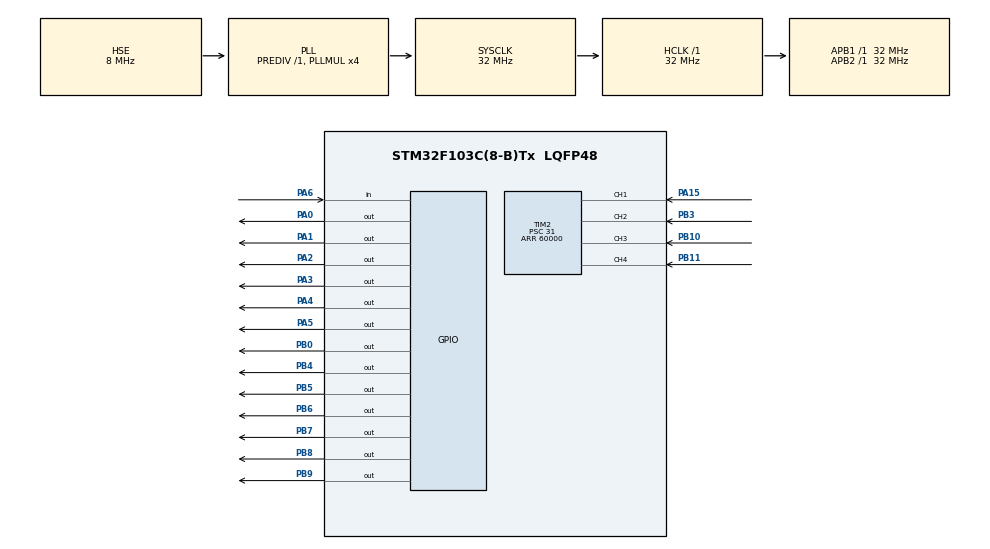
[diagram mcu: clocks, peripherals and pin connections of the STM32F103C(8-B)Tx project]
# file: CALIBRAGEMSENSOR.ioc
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Mcu.Family=STM32F1
Mcu.Name=STM32F103C(8-B)Tx
Mcu.Package=LQFP48
NVIC.PriorityGroup=NVIC_PRIORITYGROUP_4
NVIC.TIM2_IRQn=true\:0\:0\:false\:false\:true
NVIC.TIM3_IRQn=true\:0\:0\:false\:false\:true
PA0-WKUP.Signal=GPIO_Output
PA1.GPIO_Speed=GPIO_SPEED_FREQ_LOW
PA1.PinState=GPIO_PIN_RESET
PA1.Signal=GPIO_Output
PA13.Mode=Serial_Wire
PA13.Signal=SYS_JTMS-SWDIO
PA14.Mode=Serial_Wire
PA14.Signal=SYS_JTCK-SWCLK
PA15.Signal=S_TIM2_CH1_ETR
PA2.Signal=GPIO_Output
PA3.Signal=GPIO_Output
PA4.Signal=GPIO_Output
PA5.Signal=GPIO_Output
PA6.Signal=GPIO_Input
PB0.Signal=GPIO_Output
PB10.Signal=S_TIM2_CH3
PB11.Signal=S_TIM2_CH4
PB3.Signal=S_TIM2_CH2
PB4.Signal=GPIO_Output
PB5.Signal=GPIO_Output
PB6.Signal=GPIO_Output
PB7.Signal=GPIO_Output
PB8.Signal=GPIO_Output
PB9.Signal=GPIO_Output
PD0-OSC_IN.Mode=HSE-External-Oscillator
PD0-OSC_IN.Signal=RCC_OSC_IN
PD1-OSC_OUT.Mode=HSE-External-Oscillator
PD1-OSC_OUT.Signal=RCC_OSC_OUT
ProjectManager.HeapSize=0x200
ProjectManager.StackSize=0x400
ProjectManager.TargetToolchain=TrueSTUDIO
RCC.AHBFreq_Value=32000000
RCC.APB1Freq_Value=32000000
RCC.APB1TimFreq_Value=32000000
RCC.APB2Freq_Value=32000000
RCC.APB2TimFreq_Value=32000000
RCC.HCLKFreq_Value=32000000
RCC.PLLMUL=RCC_PLL_MUL4
RCC.PLLSourceVirtual=RCC_PLLSOURCE_HSE
RCC.SYSCLKFreq_VALUE=32000000
RCC.SYSCLKSource=RCC_SYSCLKSOURCE_PLLCLK
RCC.USBFreq_Value=32000000
SH.S_TIM2_CH1_ETR.0=TIM2_CH1,Input_Capture1_from_TI1
SH.S_TIM2_CH2.0=TIM2_CH2,Input_Capture2_from_TI2
SH.S_TIM2_CH3.0=TIM2_CH3,Input_Capture3_from_TI3
SH.S_TIM2_CH4.0=TIM2_CH4,Input_Capture4_from_TI4
TIM2.Channel-Input_Capture1_from_TI1=TIM_CHANNEL_1
TIM2.Channel-Input_Capture2_from_TI2=TIM_CHANNEL_2
TIM2.Channel-Input_Capture3_from_TI3=TIM_CHANNEL_3
TIM2.Channel-Input_Capture4_from_TI4=TIM_CHANNEL_4
TIM2.ICFilter_CH1=15
TIM2.ICFilter_CH2=15
TIM2.ICFilter_CH3=15
TIM2.ICFilter_CH4=15
TIM2.ICPolarity_CH1=TIM_INPUTCHANNELPOLARITY_FALLING
TIM2.ICPolarity_CH4=TIM_INPUTCHANNELPOLARITY_FALLING
TIM2.Period=60000
TIM2.Prescaler=31
TIM3.Period=99
TIM3.Prescaler=31999
VP_TIM2_VS_ClockSourceINT.Mode=Internal
VP_TIM3_VS_ClockSourceINT.Mode=Internal
board=CALIBRAGEMSENSOR

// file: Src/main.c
/**
  ******************************************************************************
  * File Name          : main.c
  * Description        : Main program body
  ******************************************************************************
  ** This notice applies to any and all portions of this file
  * that are not between comment pairs USER CODE BEGIN and
  * USER CODE END. Other portions of this file, whether
  * inserted by the user or by software development tools
  * are owned by their respective copyright owners.
  *
  * COPYRIGHT(c) 2017 STMicroelectronics
  *
  * Redistribution and use in source and binary forms, with or without modification,
  * are permitted provided that the following conditions are met:
  *   1. Redistributions of source code must retain the above copyright notice,
  *      this list of conditions and the following disclaimer.
  *   2. Redistributions in binary form must reproduce the above copyright notice,
  *      this list of conditions and the following disclaimer in the documentation
  *      and/or other materials provided with the distribution.
  *   3. Neither the name of STMicroelectronics nor the names of its contributors
  *      may be used to endorse or promote products derived from this software
  *      without specific prior written permission.
  *
  * THIS SOFTWARE IS PROVIDED BY THE COPYRIGHT HOLDERS AND CONTRIBUTORS "AS IS"
  * AND ANY EXPRESS OR IMPLIED WARRANTIES, INCLUDING, BUT NOT LIMITED TO, THE
  * IMPLIED WARRANTIES OF MERCHANTABILITY AND FITNESS FOR A PARTICULAR PURPOSE ARE
  * DISCLAIMED. IN NO EVENT SHALL THE COPYRIGHT HOLDER OR CONTRIBUTORS BE LIABLE
  * FOR ANY DIRECT, INDIRECT, INCIDENTAL, SPECIAL, EXEMPLARY, OR CONSEQUENTIAL
  * DAMAGES (INCLUDING, BUT NOT LIMITED TO, PROCUREMENT OF SUBSTITUTE GOODS OR
  * SERVICES; LOSS OF USE, DATA, OR PROFITS; OR BUSINESS INTERRUPTION) HOWEVER
  * CAUSED AND ON ANY THEORY OF LIABILITY, WHETHER IN CONTRACT, STRICT LIABILITY,
  * OR TORT (INCLUDING NEGLIGENCE OR OTHERWISE) ARISING IN ANY WAY OUT OF THE USE
  * OF THIS SOFTWARE, EVEN IF ADVISED OF THE POSSIBILITY OF SUCH DAMAGE.
  *
  ******************************************************************************
  */
#include "main.h"
#include "stm32f1xx_hal.h"
#include "tim.h"
#include "gpio.h"

/* USER CODE BEGIN PV */
/* Private variables ---------------------------------------------------------*/
long delay = 0;
/* USER CODE END PV */

void SystemClock_Config(void);

/* USER CODE BEGIN PFP */
/* Private function prototypes -----------------------------------------------*/
uint32_t uss1_delay = 0;
uint32_t uss2_delay = 0;
/* USER CODE END PFP */

int main(void)
{

  /* MCU Configuration----------------------------------------------------------*/

  /* Reset of all peripherals, Initializes the Flash interface and the Systick. */
  HAL_Init();

  /* Configure the system clock */
  SystemClock_Config();

  /* Initialize all configured peripherals */
  MX_GPIO_Init();
  MX_TIM3_Init();
  MX_TIM2_Init();

  /* USER CODE BEGIN 2 */
  HAL_TIM_IC_Start_IT(&htim2, TIM_CHANNEL_1);
  HAL_TIM_IC_Start_IT(&htim2, TIM_CHANNEL_2);
  HAL_TIM_IC_Start_IT(&htim2, TIM_CHANNEL_3);
  HAL_TIM_IC_Start_IT(&htim2, TIM_CHANNEL_4);
  HAL_TIM_Base_Start_IT(&htim3);
  /* USER CODE END 2 */

  /* Infinite loop */
  /* USER CODE BEGIN WHILE */
  while (1)
  {
	  uss1_delay=HAL_TIM_ReadCapturedValue(&htim2, TIM_CHANNEL_4) - HAL_TIM_ReadCapturedValue(&htim2, TIM_CHANNEL_3);
	  uss2_delay=HAL_TIM_ReadCapturedValue(&htim2, TIM_CHANNEL_1) - HAL_TIM_ReadCapturedValue(&htim2, TIM_CHANNEL_2);
	  HAL_Delay(1000);
  /* USER CODE END WHILE */

  }

}

/** System Clock Configuration
*/
void SystemClock_Config(void)
{

  RCC_OscInitTypeDef RCC_OscInitStruct;
  RCC_ClkInitTypeDef RCC_ClkInitStruct;

    /**Initializes the CPU, AHB and APB busses clocks
    */
  RCC_OscInitStruct.OscillatorType = RCC_OSCILLATORTYPE_HSE;
  RCC_OscInitStruct.HSEState = RCC_HSE_ON;
  RCC_OscInitStruct.HSEPredivValue = RCC_HSE_PREDIV_DIV1;
  RCC_OscInitStruct.HSIState = RCC_HSI_ON;
  RCC_OscInitStruct.PLL.PLLState = RCC_PLL_ON;
  RCC_OscInitStruct.PLL.PLLSource = RCC_PLLSOURCE_HSE;
  RCC_OscInitStruct.PLL.PLLMUL = RCC_PLL_MUL4;
  if (HAL_RCC_OscConfig(&RCC_OscInitStruct) != HAL_OK)
  {
    _Error_Handler(__FILE__, __LINE__);
  }

    /**Initializes the CPU, AHB and APB busses clocks
    */
  RCC_ClkInitStruct.ClockType = RCC_CLOCKTYPE_HCLK|RCC_CLOCKTYPE_SYSCLK
                              |RCC_CLOCKTYPE_PCLK1|RCC_CLOCKTYPE_PCLK2;
  RCC_ClkInitStruct.SYSCLKSource = RCC_SYSCLKSOURCE_PLLCLK;
  RCC_ClkInitStruct.AHBCLKDivider = RCC_SYSCLK_DIV1;
  RCC_ClkInitStruct.APB1CLKDivider = RCC_HCLK_DIV1;
  RCC_ClkInitStruct.APB2CLKDivider = RCC_HCLK_DIV1;

  if (HAL_RCC_ClockConfig(&RCC_ClkInitStruct, FLASH_LATENCY_1) != HAL_OK)
  {
    _Error_Handler(__FILE__, __LINE__);
  }

    /**Configure the Systick interrupt time
    */
  HAL_SYSTICK_Config(HAL_RCC_GetHCLKFreq()/1000);

    /**Configure the Systick
    */
  HAL_SYSTICK_CLKSourceConfig(SYSTICK_CLKSOURCE_HCLK);

  /* SysTick_IRQn interrupt configuration */
  HAL_NVIC_SetPriority(SysTick_IRQn, 0, 0);
}

/* USER CODE BEGIN 4 */
void HAL_TIM_IC_CaptureCallback(TIM_HandleTypeDef *htim)
{
	if (htim->Instance==TIM2){
		//subida echo uss1
		if(htim->Channel==TIM_CHANNEL_3){

		}
		//descida echo uss1
		if(htim->Channel==TIM_CHANNEL_4){

		}
		//subida echo uss2
		if(htim->Channel==TIM_CHANNEL_2){
			delay++;
		}
		//descida echo uss2
		if(htim->Channel==TIM_CHANNEL_1){

		}
	}
}
void HAL_TIM_PeriodElapsedCallback(TIM_HandleTypeDef *htim)
{
    if (htim->Instance==TIM3) //check if the interrupt comes from TIM3
    {

    	HAL_GPIO_WritePin(GPIOA,GPIO_PIN_5,GPIO_PIN_SET); //USS1 trigger
		HAL_GPIO_WritePin(GPIOB,GPIO_PIN_4,GPIO_PIN_SET); //USS2 trigger
		Delay_Us(10);
		HAL_GPIO_WritePin(GPIOA,GPIO_PIN_5,GPIO_PIN_RESET);//USS1 trigger
		HAL_GPIO_WritePin(GPIOB,GPIO_PIN_4,GPIO_PIN_RESET);//USS2 trigger*/
		__HAL_TIM_SET_COUNTER(&htim2,0);
		//conta os ciclos de echo para calcular a distancia
    }
}
uint32_t getUs(void) {
	uint32_t usTicks = HAL_RCC_GetSysClockFreq() / 1000000;
	register uint32_t ms, cycle_cnt;
	do {
		ms = HAL_GetTick();
		cycle_cnt = SysTick->VAL;
	} while (ms != HAL_GetTick());

	return (ms * 1000) + (usTicks * 1000 - cycle_cnt) / usTicks;
}

void Delay_Us(uint32_t micros) {
	uint32_t start = getUs();
	while (getUs()-start < (uint32_t) micros);
}
/* USER CODE END 4 */

void _Error_Handler(char * file, int line)
{
  while(1)
  {
  }
}

/************************ (C) COPYRIGHT STMicroelectronics *****END OF FILE****/
